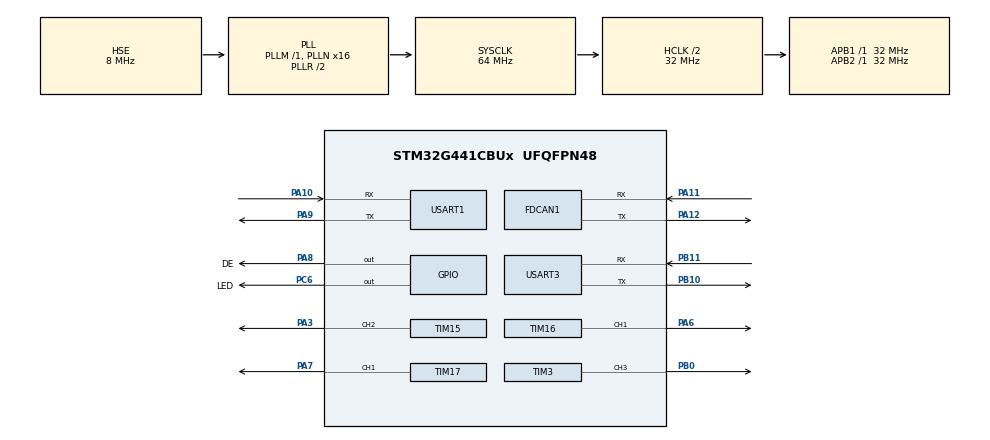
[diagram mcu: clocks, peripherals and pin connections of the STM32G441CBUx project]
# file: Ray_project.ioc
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FDCAN1.CalculateBaudRateNominal=125000
FDCAN1.CalculateTimeBitNominal=8000
FDCAN1.CalculateTimeQuantumNominal=500.0
FDCAN1.DataPrescaler=8
FDCAN1.DataTimeSeg1=5
FDCAN1.DataTimeSeg2=4
FDCAN1.NominalPrescaler=16
FDCAN1.NominalSyncJumpWidth=16
FDCAN1.NominalTimeSeg1=13
FDCAN1.NominalTimeSeg2=2
FDCAN1.StdFiltersNbr=1
Mcu.Family=STM32G4
Mcu.Name=STM32G441CBUx
Mcu.Package=UFQFPN48
NVIC.FDCAN1_IT0_IRQn=true\:0\:0\:false\:false\:true\:true\:true\:true
NVIC.PriorityGroup=NVIC_PRIORITYGROUP_4
NVIC.USART1_IRQn=true\:0\:0\:false\:false\:true\:true\:true\:true
NVIC.USART3_IRQn=true\:0\:0\:false\:false\:true\:true\:true\:true
PA10.Mode=Asynchronous
PA10.Signal=USART1_RX
PA11.Mode=FDCAN_Activate
PA11.Signal=FDCAN1_RX
PA12.Mode=FDCAN_Activate
PA12.Signal=FDCAN1_TX
PA13.Mode=Serial_Wire
PA13.Signal=SYS_JTMS-SWDIO
PA14.Mode=Serial_Wire
PA14.Signal=SYS_JTCK-SWCLK
PA3.Signal=S_TIM15_CH2
PA6.Signal=S_TIM16_CH1
PA7.Signal=S_TIM17_CH1
PA8.GPIO_Label=DE
PA8.Signal=GPIO_Output
PA9.Mode=Asynchronous
PA9.Signal=USART1_TX
PB0.Signal=S_TIM3_CH3
PB10.Mode=Asynchronous
PB10.Signal=USART3_TX
PB11.Mode=Asynchronous
PB11.Signal=USART3_RX
PC6.GPIO_Label=LED
PC6.Signal=GPIO_Output
PF0-OSC_IN.Mode=HSE-External-Oscillator
PF0-OSC_IN.Signal=RCC_OSC_IN
PF1-OSC_OUT.Mode=HSE-External-Oscillator
PF1-OSC_OUT.Signal=RCC_OSC_OUT
ProjectManager.HeapSize=0x200
ProjectManager.StackSize=0x400
ProjectManager.TargetToolchain=STM32CubeIDE
RCC.ADC12Freq_Value=64000000
RCC.AHBCLKDivider=RCC_SYSCLK_DIV2
RCC.AHBFreq_Value=32000000
RCC.APB1Freq_Value=32000000
RCC.APB1TimFreq_Value=32000000
RCC.APB2Freq_Value=32000000
RCC.APB2TimFreq_Value=32000000
RCC.CortexFreq_Value=32000000
RCC.EXTERNAL_CLOCK_VALUE=12288000
RCC.HCLKFreq_Value=32000000
RCC.HSE_VALUE=8000000
RCC.HSI48_VALUE=48000000
RCC.HSI_VALUE=16000000
RCC.LSE_VALUE=32768
RCC.PLLN=16
RCC.PLLSourceVirtual=RCC_PLLSOURCE_HSE
RCC.SYSCLKFreq_VALUE=64000000
RCC.SYSCLKSource=RCC_SYSCLKSOURCE_PLLCLK
RCC.USBFreq_Value=64000000
RCC.VCOOutputFreq_Value=128000000
SH.S_TIM15_CH2.0=TIM15_CH2,PWM Generation2 CH2
SH.S_TIM16_CH1.0=TIM16_CH1,PWM Generation1 CH1
SH.S_TIM17_CH1.0=TIM17_CH1,PWM Generation1 CH1
SH.S_TIM3_CH3.0=TIM3_CH3,PWM Generation3 CH3
TIM15.Channel-PWM\ Generation2\ CH2=TIM_CHANNEL_2
TIM15.PulseNoDither_2=499
TIM16.Channel=TIM_CHANNEL_1
TIM16.PulseNoDither_1=999
TIM17.Channel=TIM_CHANNEL_1
TIM17.PulseNoDither_1=999
TIM3.Channel-PWM\ Generation3\ CH3=TIM_CHANNEL_3
TIM3.PulseNoDither_3=999
USART1.VirtualMode-Asynchronous=VM_ASYNC
USART3.SwapParam=ADVFEATURE_SWAP_ENABLE
USART3.VirtualMode-Asynchronous=VM_ASYNC
VP_SYS_VS_DBSignals.Mode=DisableDeadBatterySignals
VP_TIM15_VS_ClockSourceINT.Mode=Internal
VP_TIM16_VS_ClockSourceINT.Mode=Enable_Timer
VP_TIM17_VS_ClockSourceINT.Mode=Enable_Timer
VP_TIM3_VS_ClockSourceINT.Mode=Internal
board=custom

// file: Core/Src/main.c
/* USER CODE BEGIN Header */
/**
  ******************************************************************************
  * @file           : main.c
  * @brief          : Main program body
  ******************************************************************************
  * @attention
  *
  * Copyright (c) 2024 STMicroelectronics.
  * All rights reserved.
  *
  * This software is licensed under terms that can be found in the LICENSE file
  * in the root directory of this software component.
  * If no LICENSE file comes with this software, it is provided AS-IS.
  *
  ******************************************************************************
  */
/* USER CODE END Header */
#include "main.h"
#include "fdcan.h"
#include "tim.h"
#include "usart.h"
#include "gpio.h"

/* USER CODE BEGIN Includes */
#include "structures.h"
#include "can.h"
#include "DWIN.h"
#include "rs485.h"
#include "timer.h"
/* USER CODE END Includes */

/* USER CODE BEGIN PV */
/*----------------------------------------------------------------------------*/
// global structures
settingsCAN   setCAN;
settingsRS485 setRS485;
settingsPWM   setPWM[4];

/*----------------------------------------------------------------------------*/
// кольцевой буффер. 0 - USART1 (RS485), 1 - USART3 (DWIN), 2 - CAN
uint8_t ring_buffer [3][RX_BUFFER_SIZE];
volatile uint8_t rx_head[3] = {0,0,0};
volatile uint8_t rx_tail[3] = {0,0,0};
/* USER CODE END PV */

void SystemClock_Config(void);

int main(void)
{

  /* MCU Configuration--------------------------------------------------------*/

  /* Reset of all peripherals, Initializes the Flash interface and the Systick. */
  HAL_Init();

  /* Configure the system clock */
  SystemClock_Config();

  /* Initialize all configured peripherals */
  MX_GPIO_Init();
  MX_FDCAN1_Init();
  MX_TIM3_Init();
  MX_TIM15_Init();
  MX_TIM16_Init();
  MX_TIM17_Init();
  MX_USART1_UART_Init();
  MX_USART3_UART_Init();
  /* USER CODE BEGIN 2 */
  FDCAN_Config();            // настройка фильтра
  HAL_UART_Receive_IT(&huart3, &ring_buffer[1][rx_head[1]], 1);
  HAL_UART_Receive_IT(&huart1, &ring_buffer[0][rx_head[0]], 1);
  init_DWIN();
  fillingStructures();
  /* USER CODE END 2 */

  /* Infinite loop */
  /* USER CODE BEGIN WHILE */
  while (1)
  {
	  if (byte_available(2) > 1)
		  receiveCAN();
	  if (byte_available(1) > 5)        // минимальная посылка 6 байт
		  analysisMessage();
	  if (byte_available(0) > 1)
		  receiveRS485();
    /* USER CODE END WHILE */

  }
}

void SystemClock_Config(void)
{
  RCC_OscInitTypeDef RCC_OscInitStruct = {0};
  RCC_ClkInitTypeDef RCC_ClkInitStruct = {0};

  /** Configure the main internal regulator output voltage
  */
  HAL_PWREx_ControlVoltageScaling(PWR_REGULATOR_VOLTAGE_SCALE1);

  /** Initializes the RCC Oscillators according to the specified parameters
  * in the RCC_OscInitTypeDef structure.
  */
  RCC_OscInitStruct.OscillatorType = RCC_OSCILLATORTYPE_HSE;
  RCC_OscInitStruct.HSEState = RCC_HSE_ON;
  RCC_OscInitStruct.PLL.PLLState = RCC_PLL_ON;
  RCC_OscInitStruct.PLL.PLLSource = RCC_PLLSOURCE_HSE;
  RCC_OscInitStruct.PLL.PLLM = RCC_PLLM_DIV1;
  RCC_OscInitStruct.PLL.PLLN = 16;
  RCC_OscInitStruct.PLL.PLLP = RCC_PLLP_DIV2;
  RCC_OscInitStruct.PLL.PLLQ = RCC_PLLQ_DIV2;
  RCC_OscInitStruct.PLL.PLLR = RCC_PLLR_DIV2;
  if (HAL_RCC_OscConfig(&RCC_OscInitStruct) != HAL_OK)
  {
    Error_Handler();
  }

  /** Initializes the CPU, AHB and APB buses clocks
  */
  RCC_ClkInitStruct.ClockType = RCC_CLOCKTYPE_HCLK|RCC_CLOCKTYPE_SYSCLK
                              |RCC_CLOCKTYPE_PCLK1|RCC_CLOCKTYPE_PCLK2;
  RCC_ClkInitStruct.SYSCLKSource = RCC_SYSCLKSOURCE_PLLCLK;
  RCC_ClkInitStruct.AHBCLKDivider = RCC_SYSCLK_DIV2;
  RCC_ClkInitStruct.APB1CLKDivider = RCC_HCLK_DIV1;
  RCC_ClkInitStruct.APB2CLKDivider = RCC_HCLK_DIV1;

  if (HAL_RCC_ClockConfig(&RCC_ClkInitStruct, FLASH_LATENCY_1) != HAL_OK)
  {
    Error_Handler();
  }
}

void Error_Handler(void)
{
  __disable_irq();
  while (1)
  {
  }
}
